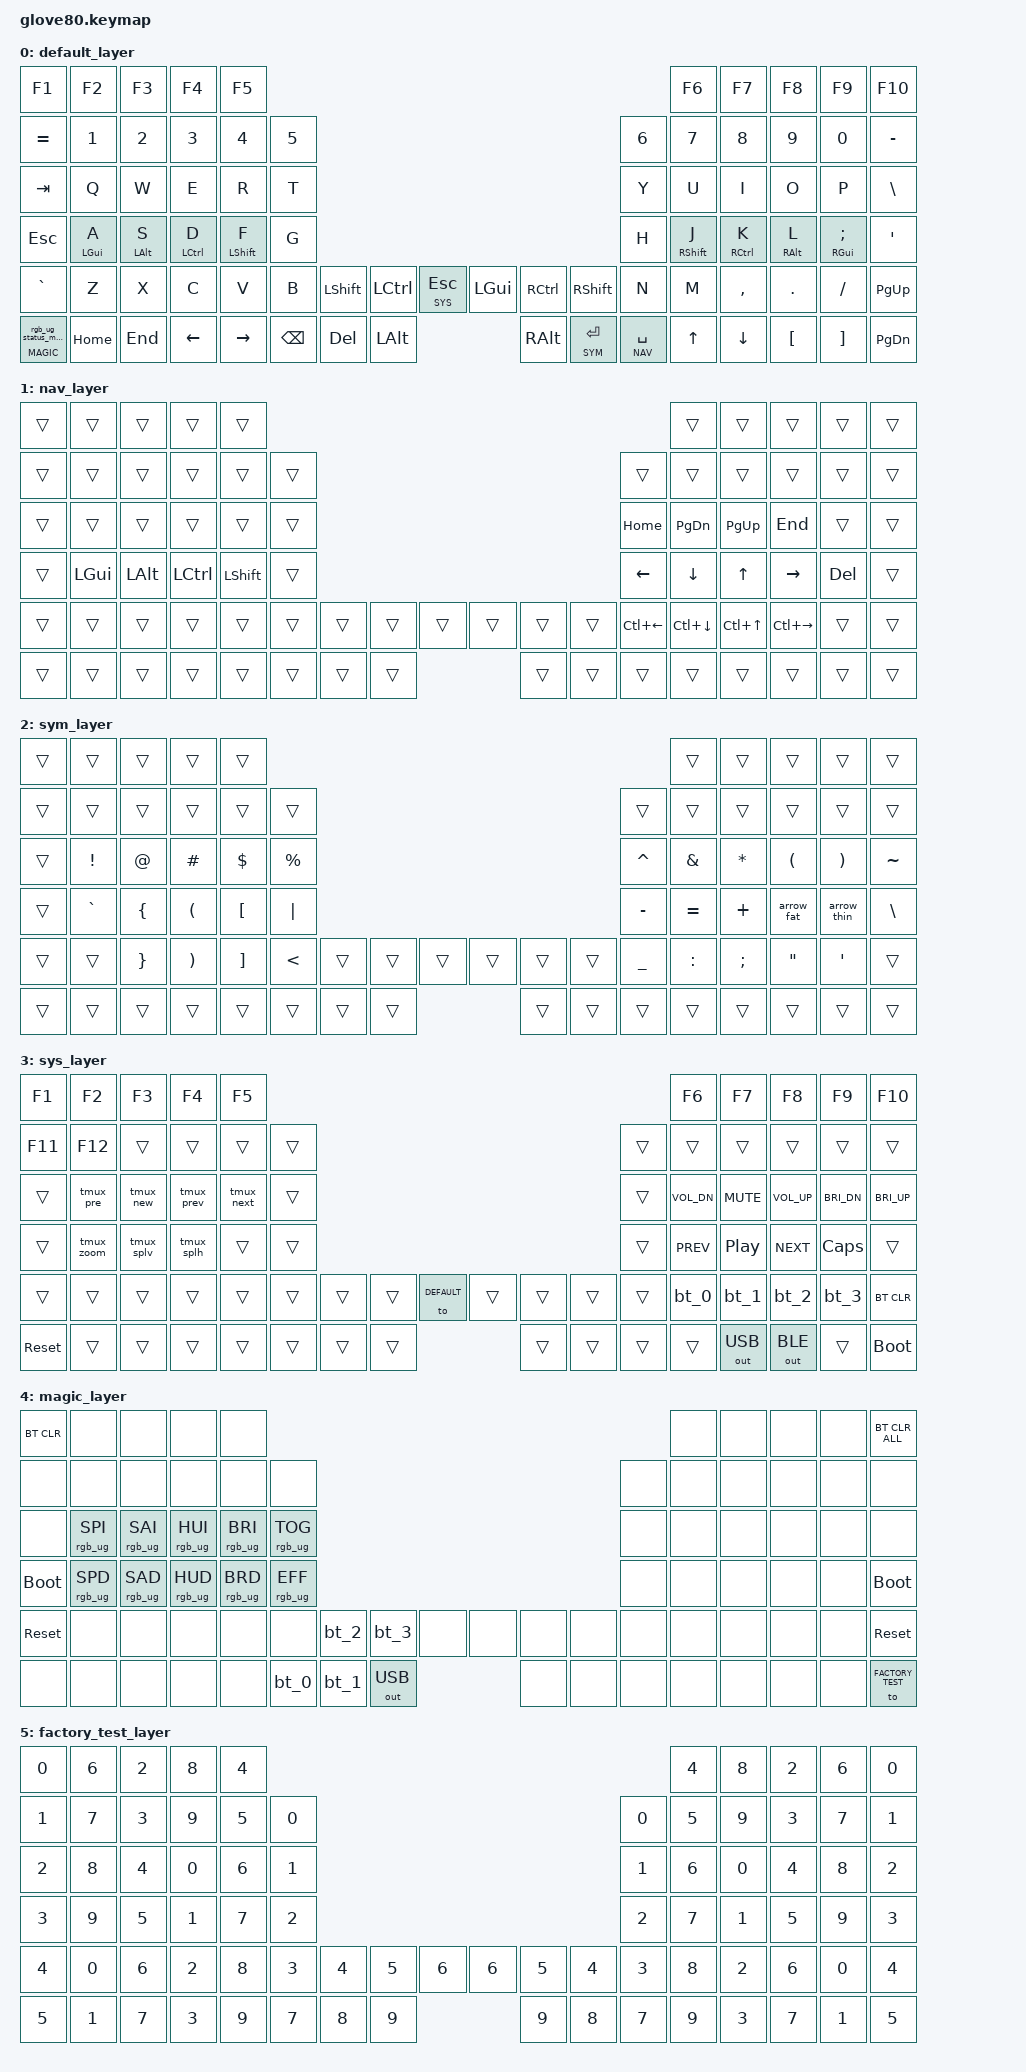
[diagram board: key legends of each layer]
/*
 * Copyright (c) 2020 The ZMK Contributors
 * Copyright (c) 2026 isra
 *
 * SPDX-License-Identifier: MIT
 *
 * Glove80 keymap tailored for a backend / Neovim / tmux workflow on Linux.
 *
 * Layers:
 *   0 DEFAULT       QWERTY + home-row mods (GACS)
 *   1 NAV           Vim-style arrows, Home/End, PgUp/PgDn, word jumps
 *   2 SYM           brackets, operators, shell symbols, =>/->
 *   3 SYS           tmux macros + F-keys + media + BT (replaces stock LOWER)
 *   4 MAGIC         stock system/RGB layer
 *   5 FACTORY_TEST  stock factory test pattern (kept for safety)
 *
 * Thumb layer-taps:
 *   SPACE (right inner) : tap=SPACE, hold=NAV
 *   RET   (right inner) : tap=RET,   hold=SYM
 *   ESC   (center)      : tap=ESC,   hold=SYS     (was tap-dance LOWER)
 *
 * Combos:
 *   j + k -> ESC
 *   w + q -> :wq<CR>
 *
 * Key position map (0-indexed, for combo authoring):
 *   Row 1 (F1..F10):                       0..9
 *   Row 2 (= 1..5   6..0 -):              10..21
 *   Row 3 (TAB Q..T   Y..P \):            22..33
 *   Row 4 (ESC A..G   H..; '):            34..45
 *   Row 5 (` Z..B  thumbs  N../ PGUP):    46..63
 *   Row 6 (MGC HOME..RIGHT  thumbs  UP DOWN [ ] PGDN): 64..79
 */

#include <behaviors.dtsi>
#include <dt-bindings/zmk/keys.h>
#include <dt-bindings/zmk/bt.h>
#include <dt-bindings/zmk/ext_power.h>
#include <dt-bindings/zmk/outputs.h>
#include <dt-bindings/zmk/rgb.h>

#define HYPER LC(LS(LG(LALT)))

// layers
#define DEFAULT      0
#define NAV          1
#define SYM          2
#define SYS          3
#define MAGIC        4
#define FACTORY_TEST 5

// key position groups for bilateral HRM (hold-trigger-key-positions)
#define LEFT_KEYS  \
    10 11 12 13 14 15 \
    22 23 24 25 26 27 \
    34 35 36 37 38 39 \
    46 47 48 49 50 51 \
    64 65 66 67 68
#define RIGHT_KEYS \
    16 17 18 19 20 21 \
    28 29 30 31 32 33 \
    40 41 42 43 44 45 \
    58 59 60 61 62 63 \
    75 76 77 78 79
#define THUMB_KEYS \
    52 53 54 55 56 57 \
    69 70 71 72 73 74

/ {
    behaviors {
        // Bilateral home-row mod on the LEFT hand.
        hml: home_row_mod_left {
            compatible = "zmk,behavior-hold-tap";
            label = "HOME_ROW_MOD_LEFT";
            #binding-cells = <2>;
            flavor = "tap-preferred";
            tapping-term-ms = <220>;
            quick-tap-ms = <175>;
            require-prior-idle-ms = <125>;
            bindings = <&kp>, <&kp>;
            hold-trigger-key-positions = <RIGHT_KEYS THUMB_KEYS>;
            hold-trigger-on-release;
        };

        // Bilateral home-row mod on the RIGHT hand.
        hmr: home_row_mod_right {
            compatible = "zmk,behavior-hold-tap";
            label = "HOME_ROW_MOD_RIGHT";
            #binding-cells = <2>;
            flavor = "tap-preferred";
            tapping-term-ms = <220>;
            quick-tap-ms = <175>;
            require-prior-idle-ms = <125>;
            bindings = <&kp>, <&kp>;
            hold-trigger-key-positions = <LEFT_KEYS THUMB_KEYS>;
            hold-trigger-on-release;
        };

        // Balanced layer-tap for thumb keys.
        ltb: layer_tap_balanced {
            compatible = "zmk,behavior-hold-tap";
            label = "LAYER_TAP_BALANCED";
            #binding-cells = <2>;
            flavor = "balanced";
            tapping-term-ms = <200>;
            quick-tap-ms = <175>;
            bindings = <&mo>, <&kp>;
        };

        // Stock magic key behavior.
        magic: magic_hold_tap {
            compatible = "zmk,behavior-hold-tap";
            label = "MAGIC_HOLD_TAP";
            #binding-cells = <2>;
            flavor = "tap-preferred";
            tapping-term-ms = <200>;
            bindings = <&mo>, <&rgb_ug_status_macro>;
        };
    };

    macros {
        // stock system macros
        rgb_ug_status_macro: rgb_ug_status_macro_0 {
            label = "RGB_UG_STATUS";
            compatible = "zmk,behavior-macro";
            #binding-cells = <0>;
            bindings = <&rgb_ug RGB_STATUS>;
        };
        bt_0: bt_profile_macro_0 {
            label = "BT_0";
            compatible = "zmk,behavior-macro";
            #binding-cells = <0>;
            bindings = <&out OUT_BLE>, <&bt BT_SEL 0>;
        };
        bt_1: bt_profile_macro_1 {
            label = "BT_1";
            compatible = "zmk,behavior-macro";
            #binding-cells = <0>;
            bindings = <&out OUT_BLE>, <&bt BT_SEL 1>;
        };
        bt_2: bt_profile_macro_2 {
            label = "BT_2";
            compatible = "zmk,behavior-macro";
            #binding-cells = <0>;
            bindings = <&out OUT_BLE>, <&bt BT_SEL 2>;
        };
        bt_3: bt_profile_macro_3 {
            label = "BT_3";
            compatible = "zmk,behavior-macro";
            #binding-cells = <0>;
            bindings = <&out OUT_BLE>, <&bt BT_SEL 3>;
        };

        // tmux prefix = Ctrl+B
        tmux_pre: tmux_pre {
            label = "TMUX_PRE";
            compatible = "zmk,behavior-macro";
            #binding-cells = <0>;
            wait-ms = <5>;
            tap-ms = <5>;
            bindings = <&kp LC(B)>;
        };

        tmux_prev: tmux_prev {
            label = "TMUX_PREV";
            compatible = "zmk,behavior-macro";
            #binding-cells = <0>;
            wait-ms = <5>;
            tap-ms = <5>;
            bindings = <&kp LC(B)>, <&kp P>;
        };

        tmux_next: tmux_next {
            label = "TMUX_NEXT";
            compatible = "zmk,behavior-macro";
            #binding-cells = <0>;
            wait-ms = <5>;
            tap-ms = <5>;
            bindings = <&kp LC(B)>, <&kp N>;
        };

        tmux_splv: tmux_splv {
            label = "TMUX_SPLV";
            compatible = "zmk,behavior-macro";
            #binding-cells = <0>;
            wait-ms = <5>;
            tap-ms = <5>;
            bindings = <&kp LC(B)>, <&kp DQT>;
        };

        tmux_splh: tmux_splh {
            label = "TMUX_SPLH";
            compatible = "zmk,behavior-macro";
            #binding-cells = <0>;
            wait-ms = <5>;
            tap-ms = <5>;
            bindings = <&kp LC(B)>, <&kp PRCNT>;
        };

        tmux_zoom: tmux_zoom {
            label = "TMUX_ZOOM";
            compatible = "zmk,behavior-macro";
            #binding-cells = <0>;
            wait-ms = <5>;
            tap-ms = <5>;
            bindings = <&kp LC(B)>, <&kp Z>;
        };

        tmux_new: tmux_new {
            label = "TMUX_NEW";
            compatible = "zmk,behavior-macro";
            #binding-cells = <0>;
            wait-ms = <5>;
            tap-ms = <5>;
            bindings = <&kp LC(B)>, <&kp C>;
        };

        // =>
        arrow_fat: arrow_fat {
            label = "ARROW_FAT";
            compatible = "zmk,behavior-macro";
            #binding-cells = <0>;
            wait-ms = <5>;
            tap-ms = <5>;
            bindings = <&kp EQUAL>, <&kp GT>;
        };

        // ->
        arrow_thin: arrow_thin {
            label = "ARROW_THIN";
            compatible = "zmk,behavior-macro";
            #binding-cells = <0>;
            wait-ms = <5>;
            tap-ms = <5>;
            bindings = <&kp MINUS>, <&kp GT>;
        };

        // :wq<CR>
        vim_wq: vim_wq {
            label = "VIM_WQ";
            compatible = "zmk,behavior-macro";
            #binding-cells = <0>;
            wait-ms = <5>;
            tap-ms = <5>;
            bindings = <&kp COLON>, <&kp W>, <&kp Q>, <&kp RET>;
        };
    };

    combos {
        compatible = "zmk,combos";

        combo_esc {
            timeout-ms = <45>;
            key-positions = <41 42>;
            bindings = <&kp ESC>;
            layers = <DEFAULT>;
            require-prior-idle-ms = <125>;
        };

        combo_wq {
            timeout-ms = <60>;
            key-positions = <23 24>;
            bindings = <&vim_wq>;
            layers = <DEFAULT>;
            require-prior-idle-ms = <150>;
        };
    };

    keymap {
        compatible = "zmk,keymap";

        default_layer {
            bindings = <
            &kp F1         &kp F2       &kp F3       &kp F4       &kp F5                                                                                                       &kp F6   &kp F7       &kp F8       &kp F9       &kp F10
            &kp EQUAL      &kp N1       &kp N2       &kp N3       &kp N4       &kp N5                                                                                &kp N6   &kp N7   &kp N8       &kp N9       &kp N0       &kp MINUS
            &kp TAB        &kp Q        &kp W        &kp E        &kp R        &kp T                                                                                 &kp Y    &kp U    &kp I        &kp O        &kp P        &kp BSLH
            &kp ESC        &hml LGUI A  &hml LALT S  &hml LCTRL D &hml LSHFT F &kp G                                                                                 &kp H    &hmr RSHFT J &hmr RCTRL K &hmr RALT L &hmr RGUI SEMI &kp SQT
            &kp GRAVE      &kp Z        &kp X        &kp C        &kp V        &kp B  &kp LSHFT &kp LCTRL &ltb SYS ESC   &kp LGUI  &kp RCTRL &kp RSHFT               &kp N    &kp M    &kp COMMA    &kp DOT      &kp FSLH     &kp PG_UP
            &magic MAGIC 0 &kp HOME     &kp END      &kp LEFT     &kp RIGHT           &kp BSPC  &kp DEL   &kp LALT       &kp RALT  &ltb SYM RET &ltb NAV SPACE                 &kp UP   &kp DOWN     &kp LBKT     &kp RBKT     &kp PG_DN
            >;
        };

        nav_layer {
            bindings = <
            &trans     &trans    &trans    &trans    &trans                                                                                                &trans       &trans       &trans       &trans       &trans
            &trans     &trans    &trans    &trans    &trans    &trans                                                                           &trans     &trans       &trans       &trans       &trans       &trans
            &trans     &trans    &trans    &trans    &trans    &trans                                                                           &kp HOME   &kp PG_DN    &kp PG_UP    &kp END      &trans       &trans
            &trans     &kp LGUI  &kp LALT  &kp LCTRL &kp LSHFT &trans                                                                           &kp LEFT   &kp DOWN     &kp UP       &kp RIGHT    &kp DEL      &trans
            &trans     &trans    &trans    &trans    &trans    &trans    &trans    &trans    &trans       &trans    &trans    &trans           &kp LC(LEFT) &kp LC(DOWN) &kp LC(UP)  &kp LC(RIGHT) &trans      &trans
            &trans     &trans    &trans    &trans    &trans              &trans    &trans    &trans       &trans    &trans    &trans                       &trans       &trans       &trans       &trans       &trans
            >;
        };

        sym_layer {
            bindings = <
            &trans     &trans    &trans    &trans    &trans                                                                                                &trans       &trans       &trans       &trans       &trans
            &trans     &trans    &trans    &trans    &trans    &trans                                                                           &trans     &trans       &trans       &trans       &trans       &trans
            &trans     &kp EXCL  &kp AT    &kp HASH  &kp DLLR  &kp PRCNT                                                                        &kp CARET  &kp AMPS     &kp STAR     &kp LPAR     &kp RPAR     &kp TILDE
            &trans     &kp GRAVE &kp LBRC  &kp LPAR  &kp LBKT  &kp PIPE                                                                         &kp MINUS  &kp EQUAL    &kp PLUS     &arrow_fat   &arrow_thin  &kp BSLH
            &trans     &trans    &kp RBRC  &kp RPAR  &kp RBKT  &kp LT    &trans    &trans    &trans       &trans    &trans    &trans           &kp UNDER  &kp COLON    &kp SEMI     &kp DQT      &kp SQT      &trans
            &trans     &trans    &trans    &trans    &trans              &trans    &trans    &trans       &trans    &trans    &trans                       &trans       &trans       &trans       &trans       &trans
            >;
        };

        sys_layer {
            bindings = <
            &kp F1     &kp F2    &kp F3    &kp F4    &kp F5                                                                                                &kp F6       &kp F7       &kp F8       &kp F9       &kp F10
            &kp F11    &kp F12   &trans    &trans    &trans    &trans                                                                           &trans     &trans       &trans       &trans       &trans       &trans
            &trans     &tmux_pre &tmux_new &tmux_prev &tmux_next &trans                                                                          &trans     &kp C_VOL_DN &kp C_MUTE   &kp C_VOL_UP &kp C_BRI_DN &kp C_BRI_UP
            &trans     &tmux_zoom &tmux_splv &tmux_splh &trans   &trans                                                                          &trans     &kp C_PREV   &kp C_PP     &kp C_NEXT   &kp CAPS     &trans
            &trans     &trans    &trans    &trans    &trans    &trans    &trans    &trans    &to DEFAULT  &trans    &trans    &trans           &trans     &bt_0        &bt_1        &bt_2        &bt_3        &bt BT_CLR
            &sys_reset &trans    &trans    &trans    &trans              &trans    &trans    &trans       &trans    &trans    &trans                       &trans       &out OUT_USB &out OUT_BLE &trans       &bootloader
            >;
        };

        magic_layer {
            bindings = <
            &bt BT_CLR  &none           &none           &none           &none                                                                                                          &none &none &none &none &bt BT_CLR_ALL
            &none       &none           &none           &none           &none           &none                                                                                &none     &none &none &none &none &none
            &none       &rgb_ug RGB_SPI &rgb_ug RGB_SAI &rgb_ug RGB_HUI &rgb_ug RGB_BRI &rgb_ug RGB_TOG                                                                      &none     &none &none &none &none &none
            &bootloader &rgb_ug RGB_SPD &rgb_ug RGB_SAD &rgb_ug RGB_HUD &rgb_ug RGB_BRD &rgb_ug RGB_EFF                                                                      &none     &none &none &none &none &bootloader
            &sys_reset  &none           &none           &none           &none           &none           &bt_2     &bt_3     &none            &none     &none     &none       &none     &none &none &none &none &sys_reset
            &none       &none           &none           &none           &none                           &bt_0     &bt_1     &out OUT_USB     &none     &none     &none                 &none &none &none &none &to FACTORY_TEST
            >;
        };

        factory_test_layer {
            bindings = <
            &kp N0   &kp N6   &kp N2   &kp N8   &kp N4                                                                              &kp N4   &kp N8   &kp N2   &kp N6   &kp N0
            &kp N1   &kp N7   &kp N3   &kp N9   &kp N5   &kp N0                                                            &kp N0   &kp N5   &kp N9   &kp N3   &kp N7   &kp N1
            &kp N2   &kp N8   &kp N4   &kp N0   &kp N6   &kp N1                                                            &kp N1   &kp N6   &kp N0   &kp N4   &kp N8   &kp N2
            &kp N3   &kp N9   &kp N5   &kp N1   &kp N7   &kp N2                                                            &kp N2   &kp N7   &kp N1   &kp N5   &kp N9   &kp N3
            &kp N4   &kp N0   &kp N6   &kp N2   &kp N8   &kp N3   &kp N4   &kp N5   &kp N6      &kp N6   &kp N5   &kp N4   &kp N3   &kp N8   &kp N2   &kp N6   &kp N0   &kp N4
            &kp N5   &kp N1   &kp N7   &kp N3   &kp N9            &kp N7   &kp N8   &kp N9      &kp N9   &kp N8   &kp N7            &kp N9   &kp N3   &kp N7   &kp N1   &kp N5
            >;
        };
    };
};
